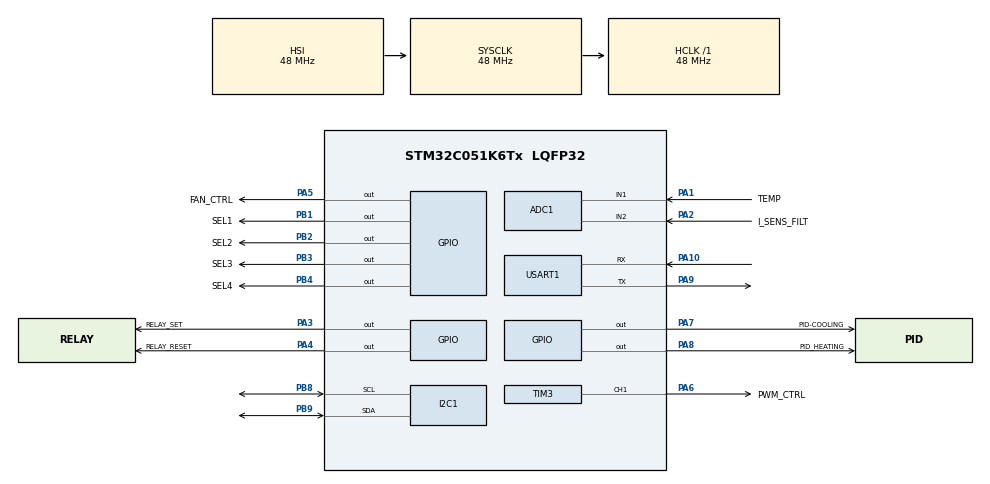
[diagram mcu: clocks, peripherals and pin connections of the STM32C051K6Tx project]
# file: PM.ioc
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ADC1.NbrOfConversionFlag=0
ADC1.SamplingTimeCommon1=ADC_SAMPLETIME_160CYCLES_5
ADC1.SelectedChannel=ADC_CHANNEL_1|ADC_CHANNEL_2
ADC1.master=1
I2C1.Timing=0x10805D88
IWDG.Prescaler=IWDG_PRESCALER_32
IWDG.Reload=499
Mcu.Family=STM32C0
Mcu.Name=STM32C051K6Tx
Mcu.Package=LQFP32
PA1.GPIO_Label=TEMP
PA1.Mode=IN1
PA1.Signal=ADC1_IN1
PA10.Mode=Asynchronous
PA10.Signal=USART1_RX
PA13.Mode=Serial_Wire
PA13.Signal=DEBUG_SWDIO
PA14-BOOT0.Mode=Serial_Wire
PA14-BOOT0.Signal=DEBUG_SWCLK
PA2.GPIO_Label=I_SENS_FILT
PA2.Mode=IN2
PA2.Signal=ADC1_IN2
PA3.GPIO_Label=RELAY_SET
PA3.Signal=GPIO_Output
PA4.GPIO_Label=RELAY_RESET
PA4.Signal=GPIO_Output
PA5.GPIO_Label=FAN_CTRL
PA5.Signal=GPIO_Output
PA6.GPIO_Label=PWM_CTRL
PA6.Signal=S_TIM3_CH1
PA7.GPIO_Label=PID-COOLING
PA7.Signal=GPIO_Output
PA8.GPIO_Label=PID_HEATING
PA8.Signal=GPIO_Output
PA9.Mode=Asynchronous
PA9.Signal=USART1_TX
PB1.GPIO_Label=SEL1
PB1.Signal=GPIO_Output
PB2.GPIO_Label=SEL2
PB2.Signal=GPIO_Output
PB3.GPIO_Label=SEL3
PB3.Signal=GPIO_Output
PB4.GPIO_Label=SEL4
PB4.Signal=GPIO_Output
PB8.Mode=I2C
PB8.Signal=I2C1_SCL
PB9.Mode=I2C
PB9.Signal=I2C1_SDA
PC14-OSCX_IN(PC14).Mode=LSE-External-Oscillator
PC14-OSCX_IN(PC14).Signal=RCC_OSCX_IN
PC15-OSCX_OUT(PC15).Mode=LSE-External-Oscillator
PC15-OSCX_OUT(PC15).Signal=RCC_OSCX_OUT
ProjectManager.HeapSize=0x200
ProjectManager.StackSize=0x400
ProjectManager.TargetToolchain=STM32CubeIDE
RCC.ADCFreq_Value=48000000
RCC.AHBFreq_Value=48000000
RCC.CortexFreq_Value=48000000
RCC.EXTERNAL_CLOCK_VALUE=12288000
RCC.HCLKFreq_Value=48000000
RCC.HSE_VALUE=8000000
RCC.HSISYSCLKDivider=RCC_HSI_DIV1
RCC.HSI_VALUE=48000000
RCC.RTCClockSelection=RCC_RTCCLKSOURCE_LSE
RCC.SYSCLKFreq_VALUE=48000000
SH.S_TIM3_CH1.0=TIM3_CH1,PWM Generation1 CH1
TIM3.Channel-PWM\ Generation1\ CH1=TIM_CHANNEL_1
TIM3.Period=99
USART1.VirtualMode-Asynchronous=VM_ASYNC
VP_IWDG_VS_IWDG.Mode=IWDG_Activate
VP_RTC_VS_RTC_Activate.Mode=RTC_Enabled
board=custom

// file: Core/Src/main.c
/* USER CODE BEGIN Header */
/**
  ******************************************************************************
  * @file           : main.c
  * @brief          : Main program body
  ******************************************************************************
  * @attention
  *
  * Copyright (c) 2026 STMicroelectronics.
  * All rights reserved.
  *
  * This software is licensed under terms that can be found in the LICENSE file
  * in the root directory of this software component.
  * If no LICENSE file comes with this software, it is provided AS-IS.
  *
  ******************************************************************************
  */
/* USER CODE END Header */
#include "main.h"

/* USER CODE BEGIN Includes */
#include "adc_reader.h"
#include "temperature_sensor.h"
#include "current_sensor.h"
#include "pid_control.h"
#include "i2c_comm.h"
#include "uart_comm.h"
/* USER CODE END Includes */

ADC_HandleTypeDef hadc1;

I2C_HandleTypeDef hi2c1;

IWDG_HandleTypeDef hiwdg;

RTC_HandleTypeDef hrtc;

TIM_HandleTypeDef htim3;

UART_HandleTypeDef huart1;

void SystemClock_Config(void);
static void MX_GPIO_Init(void);
static void MX_ADC1_Init(void);
static void MX_I2C1_Init(void);
static void MX_RTC_Init(void);
static void MX_TIM3_Init(void);
static void MX_USART1_UART_Init(void);
static void MX_IWDG_Init(void);

int main(void)
{

  /* MCU Configuration--------------------------------------------------------*/

  /* Reset of all peripherals, Initializes the Flash interface and the Systick. */
  HAL_Init();

  /* Configure the system clock */
  SystemClock_Config();

  /* Initialize all configured peripherals */
  MX_GPIO_Init();
  MX_ADC1_Init();
  MX_I2C1_Init();
  MX_RTC_Init();
  MX_TIM3_Init();
  MX_USART1_UART_Init();
  MX_IWDG_Init();
  /* USER CODE BEGIN 2 */

#if defined(HAL_IWDG_MODULE_ENABLED) && defined(__HAL_DBGMCU_FREEZE_IWDG)
  /* Stop the watchdog while the core is halted by the debugger (breakpoints) */
#if defined(__HAL_RCC_DBGMCU_CLK_ENABLE)
  __HAL_RCC_DBGMCU_CLK_ENABLE();
#endif
  __HAL_DBGMCU_FREEZE_IWDG();
#endif

  AdcReader_Init();   /* ADC self-calibration, before the first conversion */
  TempSensor_Init();
  CurrentSensor_Init();
  PidControl_Init();
  I2cComm_Init();
  UartComm_Init();     /* debug command line on USART1 (PA9/PA10), see uart_comm.h */

  /* USER CODE END 2 */

  /* Infinite loop */
  while (1)
  {

    /* USER CODE BEGIN 3 */

    TempSensor_Process();
    PidControl_Process();
    I2cComm_Update();
    UartComm_Update();

#ifdef HAL_IWDG_MODULE_ENABLED
    /* Independent watchdog: if the main loop hangs, the MCU is reset and the
     * PWM output goes inactive instead of keeping its last duty cycle. */
    HAL_IWDG_Refresh(&hiwdg);
#endif
  }
  /* USER CODE END 3 */
}

void SystemClock_Config(void)
{
  RCC_OscInitTypeDef RCC_OscInitStruct = {0};
  RCC_ClkInitTypeDef RCC_ClkInitStruct = {0};

  __HAL_FLASH_SET_LATENCY(FLASH_LATENCY_1);

  /** Configure LSE Drive Capability
  */
  __HAL_RCC_LSEDRIVE_CONFIG(RCC_LSEDRIVE_LOW);

  /** Initializes the RCC Oscillators according to the specified parameters
  * in the RCC_OscInitTypeDef structure.
  */
  RCC_OscInitStruct.OscillatorType = RCC_OSCILLATORTYPE_HSI|RCC_OSCILLATORTYPE_LSI
                              |RCC_OSCILLATORTYPE_LSE;
  RCC_OscInitStruct.LSEState = RCC_LSE_ON;
  RCC_OscInitStruct.HSIState = RCC_HSI_ON;
  RCC_OscInitStruct.HSIDiv = RCC_HSI_DIV1;
  RCC_OscInitStruct.HSICalibrationValue = RCC_HSICALIBRATION_DEFAULT;
  RCC_OscInitStruct.LSIState = RCC_LSI_ON;
  if (HAL_RCC_OscConfig(&RCC_OscInitStruct) != HAL_OK)
  {
    Error_Handler();
  }

  /** Initializes the CPU, AHB and APB buses clocks
  */
  RCC_ClkInitStruct.ClockType = RCC_CLOCKTYPE_HCLK|RCC_CLOCKTYPE_SYSCLK
                              |RCC_CLOCKTYPE_PCLK1;
  RCC_ClkInitStruct.SYSCLKSource = RCC_SYSCLKSOURCE_HSI;
  RCC_ClkInitStruct.SYSCLKDivider = RCC_SYSCLK_DIV1;
  RCC_ClkInitStruct.AHBCLKDivider = RCC_HCLK_DIV1;
  RCC_ClkInitStruct.APB1CLKDivider = RCC_APB1_DIV1;

  if (HAL_RCC_ClockConfig(&RCC_ClkInitStruct, FLASH_LATENCY_1) != HAL_OK)
  {
    Error_Handler();
  }
}

static void MX_ADC1_Init(void)
{

  ADC_ChannelConfTypeDef sConfig = {0};

  /** Configure the global features of the ADC (Clock, Resolution, Data Alignment and number of conversion)
  */
  hadc1.Instance = ADC1;
  hadc1.Init.ClockPrescaler = ADC_CLOCK_SYNC_PCLK_DIV2;
  hadc1.Init.Resolution = ADC_RESOLUTION_12B;
  hadc1.Init.DataAlign = ADC_DATAALIGN_RIGHT;
  hadc1.Init.ScanConvMode = ADC_SCAN_SEQ_FIXED;
  hadc1.Init.EOCSelection = ADC_EOC_SINGLE_CONV;
  hadc1.Init.LowPowerAutoWait = DISABLE;
  hadc1.Init.LowPowerAutoPowerOff = DISABLE;
  hadc1.Init.ContinuousConvMode = DISABLE;
  hadc1.Init.NbrOfConversion = 1;
  hadc1.Init.DiscontinuousConvMode = DISABLE;
  hadc1.Init.ExternalTrigConv = ADC_SOFTWARE_START;
  hadc1.Init.ExternalTrigConvEdge = ADC_EXTERNALTRIGCONVEDGE_NONE;
  hadc1.Init.DMAContinuousRequests = DISABLE;
  hadc1.Init.Overrun = ADC_OVR_DATA_PRESERVED;
  hadc1.Init.SamplingTimeCommon1 = ADC_SAMPLETIME_160CYCLES_5;
  hadc1.Init.OversamplingMode = DISABLE;
  hadc1.Init.TriggerFrequencyMode = ADC_TRIGGER_FREQ_HIGH;
  if (HAL_ADC_Init(&hadc1) != HAL_OK)
  {
    Error_Handler();
  }

  /** Configure Regular Channel
  */
  sConfig.Channel = ADC_CHANNEL_1;
  sConfig.Rank = ADC_RANK_CHANNEL_NUMBER;
  if (HAL_ADC_ConfigChannel(&hadc1, &sConfig) != HAL_OK)
  {
    Error_Handler();
  }

  /** Configure Regular Channel
  */
  sConfig.Channel = ADC_CHANNEL_2;
  if (HAL_ADC_ConfigChannel(&hadc1, &sConfig) != HAL_OK)
  {
    Error_Handler();
  }

}

static void MX_I2C1_Init(void)
{

  hi2c1.Instance = I2C1;
  hi2c1.Init.Timing = 0x10805D88;
  hi2c1.Init.OwnAddress1 = 0;
  hi2c1.Init.AddressingMode = I2C_ADDRESSINGMODE_7BIT;
  hi2c1.Init.DualAddressMode = I2C_DUALADDRESS_DISABLE;
  hi2c1.Init.OwnAddress2 = 0;
  hi2c1.Init.OwnAddress2Masks = I2C_OA2_NOMASK;
  hi2c1.Init.GeneralCallMode = I2C_GENERALCALL_DISABLE;
  hi2c1.Init.NoStretchMode = I2C_NOSTRETCH_DISABLE;
  if (HAL_I2C_Init(&hi2c1) != HAL_OK)
  {
    Error_Handler();
  }

  /** Configure Analogue filter
  */
  if (HAL_I2CEx_ConfigAnalogFilter(&hi2c1, I2C_ANALOGFILTER_ENABLE) != HAL_OK)
  {
    Error_Handler();
  }

  /** Configure Digital filter
  */
  if (HAL_I2CEx_ConfigDigitalFilter(&hi2c1, 0) != HAL_OK)
  {
    Error_Handler();
  }

}

static void MX_IWDG_Init(void)
{

  hiwdg.Instance = IWDG;
  hiwdg.Init.Prescaler = IWDG_PRESCALER_32;
  hiwdg.Init.Window = 4095;
  hiwdg.Init.Reload = 499;
  if (HAL_IWDG_Init(&hiwdg) != HAL_OK)
  {
    Error_Handler();
  }

}

static void MX_RTC_Init(void)
{

  /** Initialize RTC Only
  */
  hrtc.Instance = RTC;
  hrtc.Init.HourFormat = RTC_HOURFORMAT_24;
  hrtc.Init.AsynchPrediv = 127;
  hrtc.Init.SynchPrediv = 255;
  hrtc.Init.OutPut = RTC_OUTPUT_DISABLE;
  hrtc.Init.OutPutRemap = RTC_OUTPUT_REMAP_NONE;
  hrtc.Init.OutPutPolarity = RTC_OUTPUT_POLARITY_HIGH;
  hrtc.Init.OutPutType = RTC_OUTPUT_TYPE_OPENDRAIN;
  hrtc.Init.OutPutPullUp = RTC_OUTPUT_PULLUP_NONE;
  if (HAL_RTC_Init(&hrtc) != HAL_OK)
  {
    Error_Handler();
  }

}

static void MX_TIM3_Init(void)
{

  TIM_MasterConfigTypeDef sMasterConfig = {0};
  TIM_OC_InitTypeDef sConfigOC = {0};

  htim3.Instance = TIM3;
  htim3.Init.Prescaler = 0;
  htim3.Init.CounterMode = TIM_COUNTERMODE_UP;
  htim3.Init.Period = 99;
  htim3.Init.ClockDivision = TIM_CLOCKDIVISION_DIV1;
  htim3.Init.AutoReloadPreload = TIM_AUTORELOAD_PRELOAD_DISABLE;
  if (HAL_TIM_PWM_Init(&htim3) != HAL_OK)
  {
    Error_Handler();
  }
  sMasterConfig.MasterOutputTrigger = TIM_TRGO_RESET;
  sMasterConfig.MasterSlaveMode = TIM_MASTERSLAVEMODE_DISABLE;
  if (HAL_TIMEx_MasterConfigSynchronization(&htim3, &sMasterConfig) != HAL_OK)
  {
    Error_Handler();
  }
  sConfigOC.OCMode = TIM_OCMODE_PWM1;
  sConfigOC.Pulse = 0;
  sConfigOC.OCPolarity = TIM_OCPOLARITY_HIGH;
  sConfigOC.OCFastMode = TIM_OCFAST_DISABLE;
  if (HAL_TIM_PWM_ConfigChannel(&htim3, &sConfigOC, TIM_CHANNEL_1) != HAL_OK)
  {
    Error_Handler();
  }
  /* USER CODE BEGIN TIM3_Init 2 */
  PidControl_PwmOutputInit();   /* inverted PWM output, running at 0 % = output stage off */

  /* USER CODE END TIM3_Init 2 */
  HAL_TIM_MspPostInit(&htim3);

}

static void MX_USART1_UART_Init(void)
{

  huart1.Instance = USART1;
  huart1.Init.BaudRate = 115200;
  huart1.Init.WordLength = UART_WORDLENGTH_8B;
  huart1.Init.StopBits = UART_STOPBITS_1;
  huart1.Init.Parity = UART_PARITY_NONE;
  huart1.Init.Mode = UART_MODE_TX_RX;
  huart1.Init.HwFlowCtl = UART_HWCONTROL_NONE;
  huart1.Init.OverSampling = UART_OVERSAMPLING_16;
  huart1.Init.OneBitSampling = UART_ONE_BIT_SAMPLE_DISABLE;
  huart1.Init.ClockPrescaler = UART_PRESCALER_DIV1;
  huart1.AdvancedInit.AdvFeatureInit = UART_ADVFEATURE_NO_INIT;
  if (HAL_UART_Init(&huart1) != HAL_OK)
  {
    Error_Handler();
  }
  if (HAL_UARTEx_SetTxFifoThreshold(&huart1, UART_TXFIFO_THRESHOLD_1_8) != HAL_OK)
  {
    Error_Handler();
  }
  if (HAL_UARTEx_SetRxFifoThreshold(&huart1, UART_RXFIFO_THRESHOLD_1_8) != HAL_OK)
  {
    Error_Handler();
  }
  if (HAL_UARTEx_DisableFifoMode(&huart1) != HAL_OK)
  {
    Error_Handler();
  }

}

static void MX_GPIO_Init(void)
{
  GPIO_InitTypeDef GPIO_InitStruct = {0};

  /* GPIO Ports Clock Enable */
  __HAL_RCC_GPIOB_CLK_ENABLE();
  __HAL_RCC_GPIOC_CLK_ENABLE();
  __HAL_RCC_GPIOA_CLK_ENABLE();

  /*Configure GPIO pin Output Level */
  HAL_GPIO_WritePin(GPIOA, RELAY_SET_Pin|RELAY_RESET_Pin|FAN_CTRL_Pin|PID_COOLING_Pin
                          |PID_HEATING_Pin, GPIO_PIN_RESET);

  /*Configure GPIO pin Output Level */
  HAL_GPIO_WritePin(GPIOB, SEL1_Pin|SEL2_Pin|SEL3_Pin|SEL4_Pin, GPIO_PIN_RESET);

  /*Configure GPIO pins : RELAY_SET_Pin RELAY_RESET_Pin FAN_CTRL_Pin PID_COOLING_Pin
                           PID_HEATING_Pin */
  GPIO_InitStruct.Pin = RELAY_SET_Pin|RELAY_RESET_Pin|FAN_CTRL_Pin|PID_COOLING_Pin
                          |PID_HEATING_Pin;
  GPIO_InitStruct.Mode = GPIO_MODE_OUTPUT_PP;
  GPIO_InitStruct.Pull = GPIO_NOPULL;
  GPIO_InitStruct.Speed = GPIO_SPEED_FREQ_LOW;
  HAL_GPIO_Init(GPIOA, &GPIO_InitStruct);

  /*Configure GPIO pins : SEL1_Pin SEL2_Pin SEL3_Pin SEL4_Pin */
  GPIO_InitStruct.Pin = SEL1_Pin|SEL2_Pin|SEL3_Pin|SEL4_Pin;
  GPIO_InitStruct.Mode = GPIO_MODE_OUTPUT_PP;
  GPIO_InitStruct.Pull = GPIO_NOPULL;
  GPIO_InitStruct.Speed = GPIO_SPEED_FREQ_LOW;
  HAL_GPIO_Init(GPIOB, &GPIO_InitStruct);

}

void Error_Handler(void)
{
  __disable_irq();
  while (1)
  {
  }
}
